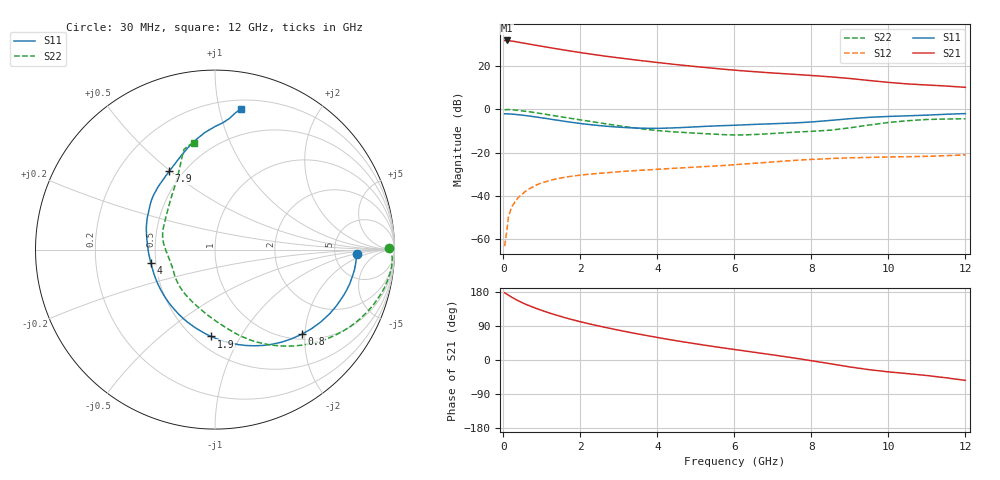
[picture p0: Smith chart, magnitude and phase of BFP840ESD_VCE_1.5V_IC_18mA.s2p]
! Infineon Technologies  Discrete & RF Semiconductors
! BFP840ESD
! VCE =  1.5 V,  IC =  18 mA
! Common Emitter S-Parameters:  May 2012
# GHz  S  MA  R  50
!  f  S11  S21  S12  S22
! GHz  MAG  ANG  MAG  ANG  MAG  ANG  MAG  ANG
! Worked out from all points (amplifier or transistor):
!   93 points, 30 MHz to 12 GHz, reference 50 ohm
!   highest |S21| = 31.8 dB at 80 MHz (marker M1)
!   |S21| within 3 dB of that: start of sweep to 1.101 GHz
!   unconditionally stable (mu >= 1): 4.954 GHz to 8.634 GHz
!   at 1.1 GHz: K = 0.38, MSG = 31.1 dB, |S12| = -33.4 dB
!   at 4.2 GHz: K = 0.93, MSG = 24.3 dB, |S12| = -27.4 dB
!   at 12 GHz: K = 0.75, MSG = 15.6 dB, |S12| = -21.0 dB
!   S11 on the Smith chart (normalised r, x): 30 MHz: 8.37, -1.10; 800 MHz: 1.11, -1.92; 1.9 GHz: 0.60, -0.76; 4 GHz: 0.47, -0.08; 7.9 GHz: 0.42, +0.49; 12 GHz: 0.27, +1.17
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0.03  0.7899 -1.8  38.63 177.6  0.0007 88.4  0.9707 0.6
0.08  0.7881 -4.8  38.75 174.3  0.0014 80.4  0.9889 -2.5
0.23  0.7748 -14.0  37.35 164.9  0.0059 79.1  0.9758 -10.4
0.38  0.7519 -22.5  35.47 156.5  0.0091 77.7  0.9463 -17.0
0.6  0.714 -34.4  32.75 146.2  0.0136 69.0  0.8951 -25.6
0.8  0.6748 -44.4  30.51 138.1  0.0169 64.6  0.8448 -32.6
1  0.6359 -54.1  28.4 130.7  0.0203 59.9  0.7935 -39.1
1.3  0.5791 -67.7  25.59 120.7  0.0241 54.2  0.7187 -47.8
1.6  0.5279 -80.5  23.17 111.6  0.0271 49.4  0.6506 -55.6
1.9  0.4844 -92.6  21.01 103.5  0.0297 45.6  0.5898 -62.6
2.1  0.4595 -100.3  19.76 98.5  0.0311 43.5  0.5541 -67.0
2.5  0.4214 -115.3  17.57 89.2  0.0337 40.2  0.4876 -75.3
2.9  0.3939 -129.9  15.76 80.6  0.0357 37.6  0.4304 -83.4
3.4  0.3724 -147.6  13.87 70.6  0.0385 35.2  0.3738 -94.7
4  0.3656 -168.2  12.03 59.5  0.0415 32.9  0.3247 -110.0
4.1  0.3662 -171.6  11.75 57.6  0.0421 32.4  0.319 -112.8
4.9  0.3911 167.4  9.876 44.2  0.0461 29.5  0.2855 -133.0
6.1  0.4333 147.4  7.879 26.3  0.0537 26.6  0.2575 -161.1
7.9  0.506 120.3  6.121 -0.3  0.0693 16.2  0.3086 160.6
8.5  0.5559 109.9  5.606 -10.0  0.0734 11.5  0.3313 145.0
10.5  0.7092 86.3  3.856 -36.0  0.0809 -3.2  0.5467 109.7
12  0.7989 79.5  3.218 -53.8  0.0892 -10.6  0.6061 101.2
